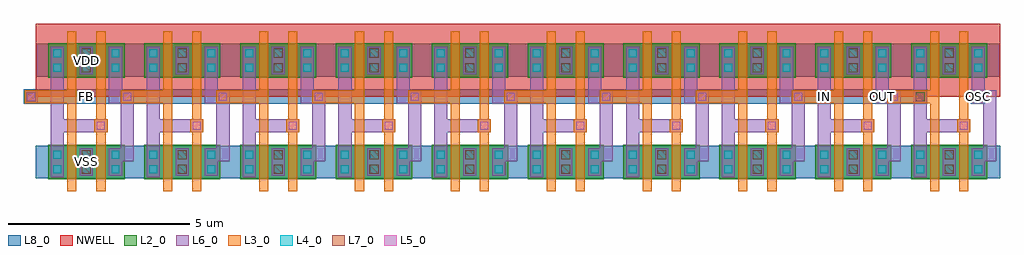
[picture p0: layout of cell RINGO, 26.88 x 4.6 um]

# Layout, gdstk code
import gdstk
lib = gdstk.Library(unit=1e-6, precision=1e-09)
def R(c, l, rs):  # rectangles x0, y0, x1, y1
    for r in rs: c.add(gdstk.rectangle(r[:2], r[2:], *l))
def A(c, l, x, y, w, h, nx, ny, dx, dy):  # array of equal rectangles
    R(c, l, [(x+i*dx, y+j*dy, x+i*dx+w, y+j*dy+h) for i in range(nx) for j in range(ny)])
def P(c, l, *ps):  # polygons
    for p in ps: c.add(gdstk.Polygon(p, *l))
NWELL = (1, 0)
L2_0 = (2, 0)
L3_0 = (3, 0)
L4_0 = (4, 0)
L5_0 = (5, 0)
L6_0 = (6, 0)
L7_0 = (7, 0)
L8_0 = (8, 0)

trans = lib.new_cell('TRANS')
R(trans, L2_0, [(-0.65,-0.475,0.65,0.475)])
R(trans, L4_0, [(-0.51,-0.31,-0.29,-0.09), (0.29,-0.31,0.51,-0.09), (-0.51,0.09,-0.29,0.31), (0.29,0.09,0.51,0.31)])
R(trans, L6_0, [(-0.58,-0.38,-0.22,0.38), (0.22,-0.38,0.58,0.38)])
trans.add(gdstk.FlexPath([(0,-0.8),(0,0.8)], 0.25, ends="flush", simple_path=True, layer=3, datatype=0))  # L3_0

inv2 = lib.new_cell('INV2')
R(inv2, NWELL, [(-1.4,1.8,1.4,3.8)])
R(inv2, L3_0, [(-0.525,-0.25,-0.275,2.25), (0.275,-0.25,0.525,2.25), (0.22,0.82,0.58,1.18), (-1.7,1.62,-0.4,1.98)])
R(inv2, L5_0, [(0.29,0.89,0.51,1.11), (-1.63,1.69,-1.41,1.91)])
R(inv2, L6_0, [(-0.98,-0.42,-0.62,2.42), (-0.8,0.82,0.58,1.18)])
R(inv2, L7_0, [(-0.125,-0.325,0.125,-0.075), (-0.125,0.075,0.125,0.325), (-0.125,2.475,0.125,2.725), (-0.125,2.875,0.125,3.125)])
R(inv2, L8_0, [(-1.4,-0.45,1.4,0.45), (-1.4,2.35,1.4,3.25)])
inv2.add(gdstk.FlexPath([(0.8,0.2),(1.12,0.2),(1.12,1.8),(0.8,1.8),(0.8,2.42)], 0.36, ends="flush", simple_path=True, layer=6, datatype=0))  # L6_0
inv2.add(gdstk.Reference(trans, (0.4,0), x_reflection=True))
inv2.add(gdstk.Reference(trans, (0.4,2.8), x_reflection=True))
inv2.add(gdstk.Reference(trans, (-0.4,0)))
inv2.add(gdstk.Reference(trans, (-0.4,2.8)))
inv2.add(gdstk.Label('IN', (-0.8,1.8), layer=3, texttype=1))
inv2.add(gdstk.Label('OUT', (0.8,1.8), layer=6, texttype=1))

ringo = lib.new_cell('RINGO')
R(ringo, NWELL, [(19.72,1.8,22.52,3.8)])
R(ringo, L2_0, [(20.07,-0.475,21.37,0.475), (20.87,-0.475,22.17,0.475), (20.07,2.325,21.37,3.275), (20.87,2.325,22.17,3.275)])
R(ringo, L3_0, [(20.595,-0.25,20.845,2.25), (21.395,-0.25,21.645,2.25), (21.34,0.82,21.7,1.18), (19.42,1.62,20.72,1.98)])
R(ringo, L4_0, [(20.21,-0.31,20.43,-0.09), (21.01,-0.31,21.23,-0.09), (21.01,-0.31,21.23,-0.09), (21.81,-0.31,22.03,-0.09), (20.21,0.09,20.43,0.31), (21.01,0.09,21.23,0.31), (21.01,0.09,21.23,0.31), (21.81,0.09,22.03,0.31), (20.21,2.49,20.43,2.71), (21.01,2.49,21.23,2.71), (21.01,2.49,21.23,2.71), (21.81,2.49,22.03,2.71), (20.21,2.89,20.43,3.11), (21.01,2.89,21.23,3.11), (21.01,2.89,21.23,3.11), (21.81,2.89,22.03,3.11)])
R(ringo, L5_0, [(21.41,0.89,21.63,1.11), (19.49,1.69,19.71,1.91)])
A(ringo, L6_0, 20.14, -0.38, 0.36, 0.76, 3, 2, 0.8, 2.8)
R(ringo, L6_0, [(20.14,-0.42,20.5,2.42), (20.32,0.82,21.7,1.18), (-1.7,1.62,-1.34,1.98)])
P(ringo, L6_0, [(21.92,0.02),(21.92,0.38),(22.06,0.38),(22.06,1.62),(21.74,1.62),(21.74,2.42),(22.1,2.42),(22.1,1.98),(22.42,1.98),(22.42,0.02)])
R(ringo, L7_0, [(20.995,-0.325,21.245,-0.075), (20.995,0.075,21.245,0.325), (-1.645,1.675,-1.395,1.925), (22.835,1.675,23.085,1.925), (24.435,1.675,24.685,1.925), (20.995,2.475,21.245,2.725), (20.995,2.875,21.245,3.125)])
R(ringo, L8_0, [(19.72,-0.45,22.52,0.45), (-1.72,1.6,23.16,2), (24.36,1.6,24.76,2), (19.72,2.35,22.52,3.25)])
ringo.add(gdstk.FlexPath([(20.72,-0.8),(20.72,0.8)], 0.25, ends="flush", simple_path=True, layer=3, datatype=0))  # L3_0
ringo.add(gdstk.FlexPath([(20.72,2),(20.72,3.6)], 0.25, ends="flush", simple_path=True, layer=3, datatype=0))  # L3_0
ringo.add(gdstk.FlexPath([(21.52,0.8),(21.52,-0.8)], 0.25, ends="flush", simple_path=True, layer=3, datatype=0))  # L3_0
ringo.add(gdstk.FlexPath([(21.52,3.6),(21.52,2)], 0.25, ends="flush", simple_path=True, layer=3, datatype=0))  # L3_0
ringo.add(gdstk.Reference(inv2, (0,0)))
ringo.add(gdstk.Reference(inv2, (2.64,0)))
ringo.add(gdstk.Reference(inv2, (5.28,0)))
ringo.add(gdstk.Reference(inv2, (7.92,0)))
ringo.add(gdstk.Reference(inv2, (10.56,0)))
ringo.add(gdstk.Reference(inv2, (13.2,0)))
ringo.add(gdstk.Reference(inv2, (15.84,0)))
ringo.add(gdstk.Reference(inv2, (18.48,0)))
ringo.add(gdstk.Reference(inv2, (23.76,0)))
ringo.add(gdstk.Label('IN', (20.32,1.8), layer=3, texttype=1))
ringo.add(gdstk.Label('OUT', (21.92,1.8), layer=6, texttype=1))
ringo.add(gdstk.Label('VSS', (0,0), layer=8, texttype=1))
ringo.add(gdstk.Label('VDD', (0,2.8), layer=8, texttype=1))
ringo.add(gdstk.Label('FB', (0,1.8), layer=8, texttype=1))
ringo.add(gdstk.Label('OSC', (24.56,1.8), layer=8, texttype=1))

lib.write_gds('RINGO.gds')
